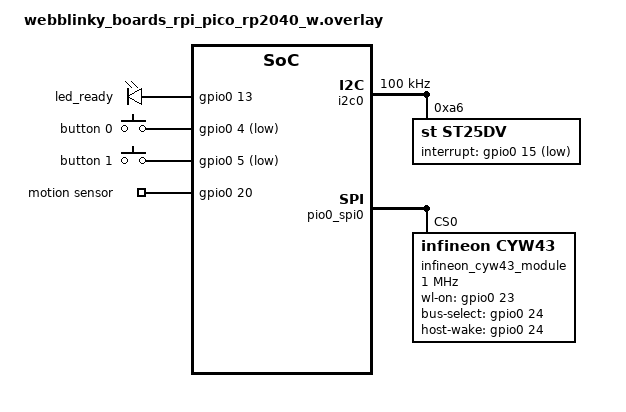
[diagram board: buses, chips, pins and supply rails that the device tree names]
#include <zephyr/dt-bindings/pwm/pwm.h>
#include <zephyr/dt-bindings/led/led.h>

/*
&wifi {
        status = "okay";
};
&adc {
      status = "okay";
};
*/


/ {
    chosen {
	zephyr,bt_hci = &cyw43_bt_hci;
    };

    leds {
        compatible = "gpio-leds";
        led_ready: led_ready {
            gpios = <&gpio0 13 ( GPIO_ACTIVE_HIGH) > ;
        };
    };
    buttons {
        compatible = "gpio-keys";
        button0: button_0 {
     	    gpios = < &gpio0 4 (GPIO_PULL_UP | GPIO_ACTIVE_LOW) >;
     	    label = "button 0";
   	    };
   	    button1: button_1 {
            gpios = < &gpio0 5 (GPIO_PULL_UP | GPIO_ACTIVE_LOW) >;
     	    label = "button 1";
        };
    };
    motion_sensors {
        compatible = "gpio-keys";
   	motionsensor: motionsensor {
   	    gpios = < &gpio0 20 (GPIO_PULL_DOWN | GPIO_ACTIVE_HIGH) >;
	    label = "motion sensor";
        };	   
    };
    aliases {
//        sensor = &adc;
    };
    zephyr,user {
//      io-channels = <&adc 0>;
    };
};

    
&i2c0 {
    pinctrl-0 = <&i2c0_default>; // default is SDA = GP4, SCL = GP5
    pinctrl-names = "default";
    status = "okay";
    clock-frequency = <I2C_BITRATE_STANDARD>;

    st25dv: st25dv@a6 {
        compatible = "st,st25dv";
        reg = <0xa6>;
        interrupt-gpios = <&gpio0 15 GPIO_ACTIVE_LOW>;
        status = "okay";
    };
};

&pio0 {
 	status = "okay";

	pio0_spi0: pio0_spi0 {

		infineon_cyw43_module: infineon_cyw43_module@0 {
                	compatible = "infineon,cyw43";
			reg = < 0x0 >;
		        clocks = < &clocks RPI_PICO_CLKID_CLK_SYS >;
                      
                        spi-max-frequency = < 1000000 >;

			wl-on-gpios = < &gpio0 23 GPIO_ACTIVE_HIGH >;
                        bus-select-gpios = < &gpio0 24 GPIO_ACTIVE_HIGH >;
			host-wake-gpios = <&gpio0 24 GPIO_ACTIVE_HIGH>;
	
                        pinctrl-0 = <&airoc_wifi_default>;
			pinctrl-1 = <&airoc_wifi_host_wake>;
			pinctrl-names = "default", "host_wake";
                        
		        status = "okay";

                        cyw43_led: cyw43_led {	/* Pico W LED is on CYW43439 GPIO 0 */
				compatible = "infineon,cyw43-led";
			};
			cyw43_gpio: cyw43_gpio {
				compatible = "infineon,cyw43-gpio";
                                gpio-controller;
                                #gpio-cells = <2>;
                                ngpios = <3>;
			};
			cyw43_bt_hci: cyw43_bt_hci {
				compatible = "infineon,cyw43-bt-hci";
			};

		};
	};
};
